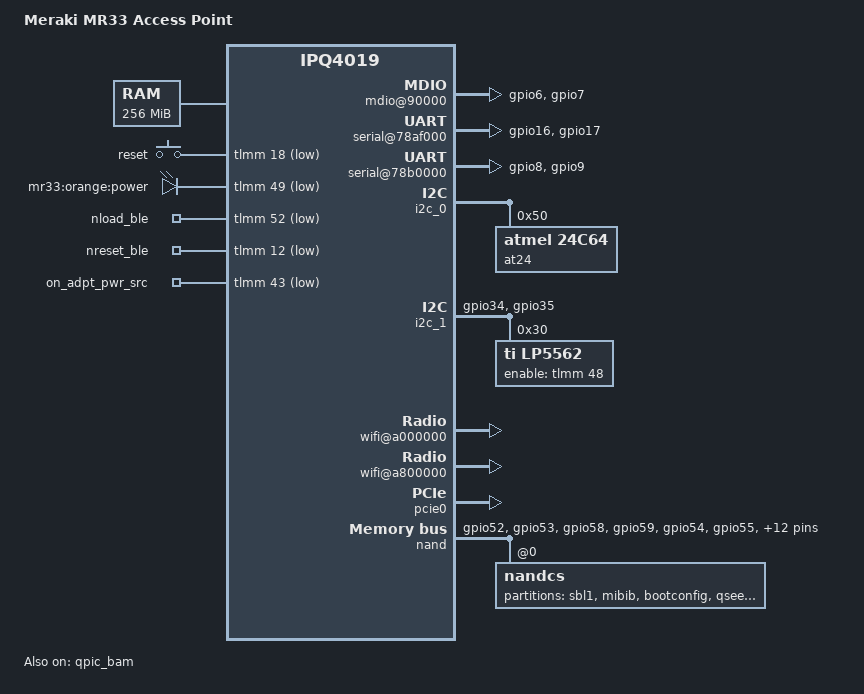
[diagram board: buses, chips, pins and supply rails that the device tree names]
/*
 * Device Tree Source for Meraki MR33 (Stinkbug)
 *
 * Copyright (C) 2017 Chris Blake <chrisrblake93@gmail.com>
 * Copyright (C) 2017 Christian Lamparter <chunkeey@googlemail.com>
 *
 * Based on Cisco Meraki DTS from GPL release r25-linux-3.14-20170427
 *
 * This file is licensed under the terms of the GNU General Public
 * License version 2.  This program is licensed "as is" without
 * any warranty of any kind, whether express or implied.
 */

#include "qcom-ipq4019.dtsi"
#include "qcom-ipq4019-bus.dtsi"
#include <dt-bindings/gpio/gpio.h>
#include <dt-bindings/input/input.h>
#include <dt-bindings/soc/qcom,tcsr.h>

/ {
	model = "Meraki MR33 Access Point";
	compatible = "meraki,mr33", "qcom,ipq4019";

	aliases {
		i2c1 = &i2c_1;
		led-boot = &status_green;
		led-failsafe = &status_red;
		led-running = &status_green;
		led-upgrade = &power_orange;
	};

	/* Do we really need this defined? */
	memory {
		device_type = "memory";
		reg = <0x80000000 0x10000000>;
	};

	reserved-memory {
		#address-cells = <0x1>;
		#size-cells = <0x1>;
		ranges;

		tz_apps@87b80000 {
			reg = <0x87b80000 0x280000>;
			reusable;
		};

		smem@87e00000 {
			reg = <0x87e00000 0x080000>;
			no-map;
		};

		tz@87e80000 {
			reg = <0x87e80000 0x180000>;
			no-map;
		};
	};

	soc {
		mdio@90000 {
			status = "okay";
			pinctrl-0 = <&mdio_pins>;
			pinctrl-names = "default";
			phy-reset-gpio = <&tlmm 47 0>;
		};

		counter@4a1000 {
			compatible = "qcom,qca-gcnt";
			reg = <0x4a1000 0x4>;
		};

		pinctrl@1000000 {
			mdio_pins: mdio_pinmux {
				mux_1 {
					pins = "gpio6";
					function = "mdio";
					bias-disable;
				};
				mux_2 {
					pins = "gpio7";
					function = "mdc";
					bias-disable;
				};
			};

			serial_0_pins: serial_pinmux {
				mux {
					pins = "gpio16", "gpio17";
					function = "blsp_uart0";
					bias-disable;
				};
			};

			serial_1_pins: serial1_pinmux {
				mux {
					/* We use the i2c-0 pins for serial_1 */
					pins = "gpio8", "gpio9";
					function = "blsp_uart1";
					bias-disable;
				};
			};

			i2c_0_pins: i2c_0_pinmux {
				pinmux {
					function = "blsp_i2c0";
					pins = "gpio20", "gpio21";
				};
				pinconf {
					pins = "gpio20", "gpio21";
					drive-strength = <16>;
					bias-disable;
				};
			};

			i2c_1_pins: i2c_1_pinmux {
				pinmux {
					function = "blsp_i2c1";
					pins = "gpio34", "gpio35";
				};
				pinconf {
					pins = "gpio34", "gpio35";
					drive-strength = <16>;
					bias-disable;
				};
			};

			nand_pins: nand_pins {
				pullups {
					pins = "gpio52", "gpio53", "gpio58",
						"gpio59";
					function = "qpic";
					bias-pull-up;
				};

				pulldowns {
					pins = "gpio54", "gpio55", "gpio56",
						"gpio57", "gpio60", "gpio61",
						"gpio62", "gpio63", "gpio64",
						"gpio65", "gpio66", "gpio67",
						"gpio68", "gpio69";
					function = "qpic";
					bias-pull-down;
				};
			};
		};

		ess_tcsr@1953000 {
			compatible = "qcom,tcsr";
			reg = <0x1953000 0x1000>;
			qcom,ess-interface-select = <TCSR_ESS_PSGMII_RGMII5>;
		};

		tcsr@1949000 {
			compatible = "qcom,tcsr";
			reg = <0x1949000 0x100>;
			qcom,wifi_glb_cfg = <TCSR_WIFI_GLB_CFG>;
		};

		tcsr@1957000 {
			compatible = "qcom,tcsr";
			reg = <0x1957000 0x100>;
			qcom,wifi_noc_memtype_m0_m2 = <TCSR_WIFI_NOC_MEMTYPE_M0_M2>;
		};

		blsp_dma: dma@7884000 {
			status = "okay";
		};

		serial@78af000 {
			pinctrl-0 = <&serial_0_pins>;
			pinctrl-names = "default";
			status = "okay";
		};

		serial@78b0000 {
			pinctrl-0 = <&serial_1_pins>;
			pinctrl-names = "default";
			status = "okay";
		};

		i2c_0: i2c@78b7000 {
			reg = <0x78b7000 0x600>;
			status = "okay";
			at24@50 {
				compatible = "atmel,24c64";
				pagesize = <32>;
				reg = <0x50>;
				read-only; /* This holds our MAC & Meraki board-data */
			};
		};

		/* Missing in IPQ4019 define */
		i2c_1: i2c@78b8000 {
			compatible = "qcom,i2c-qup-v2.2.1";
			reg = <0x78b8000 0x600>;
			interrupts = <GIC_SPI 98 IRQ_TYPE_LEVEL_HIGH>;
			clocks = <&gcc GCC_BLSP1_AHB_CLK>,
				 <&gcc GCC_BLSP1_QUP2_I2C_APPS_CLK>;
			clock-names = "iface", "core";
			#address-cells = <1>;
			#size-cells = <0>;
			dmas = <&blsp_dma 11>, <&blsp_dma 10>;
			dma-names = "rx", "tx";
			pinctrl-0 = <&i2c_1_pins>;
			pinctrl-names = "default";
			status = "okay";

			lp5562 {
				enable-gpio = <&tlmm 48 GPIO_ACTIVE_HIGH>;
				compatible = "ti,lp5562";
				clock-mode = /bits/8 <2>;
				reg = <0x30>;

				/* RGB led */
				status_red: chan0 {
					chan-name = "mr33:red:status";
					led-cur = /bits/ 8 <0x20>;
					max-cur = /bits/ 8 <0x60>;
				};

				status_green: chan1 {
					chan-name = "mr33:green:status";
					led-cur = /bits/ 8 <0x20>;
					max-cur = /bits/ 8 <0x60>;
				};

				chan2 {
					chan-name = "mr33:blue:status";
					led-cur = /bits/ 8 <0x20>;
					max-cur = /bits/ 8 <0x60>;
				};

				chan3 {
					chan-name = "mr33:white:status";
					led-cur = /bits/ 8 <0x20>;
					max-cur = /bits/ 8 <0x60>;
				};
			};
		};

		dma@8e04000 {
			status = "okay";
		};

		crypto@8e3a000 {
			status = "okay";
		};

		wifi@a000000 {
			status = "okay";
		};

		wifi@a800000 {
			status = "okay";
		};

		watchdog@b017000 {
			status = "okay";
		};

		ess-switch@c000000 {
			switch_mac_mode = <0x3>; /* mac mode for RGMII RMII */
			switch_lan_bmp = <0x0>; /* lan port bitmap */
			switch_wan_bmp = <0x10>; /* wan port bitmap */
		};

		edma@c080000 {
			qcom,single-phy;
			qcom,num_gmac = <1>;
			phy-mode = "rgmii-rxid";
			status = "okay";

			gmac0 {
				qcom,phy_mdio_addr = <1>;
				qcom,poll_required = <1>;
				vlan_tag = <0 0x20>;
			};
		};
	};

	gpio-keys {
		compatible = "gpio-keys";

		reset {
			label = "reset";
			gpios = <&tlmm 18 GPIO_ACTIVE_LOW>;
			linux,code = <KEY_RESTART>;
		};
	};

	gpio-leds {
		compatible = "gpio-leds";

		power_orange: power {
			label = "mr33:orange:power";
			gpios = <&tlmm 49 GPIO_ACTIVE_LOW>;
			panic-indicator;
		};
	};

	gpio_export {
		compatible = "gpio-export";

		nload_ble {
			gpio-export,name = "nload_ble";
			gpio-export,output = <1>;
			gpios = <&tlmm 52 GPIO_ACTIVE_LOW>;
		};

		nreset_ble {
			gpio-export,name = "nreset_ble";
			gpio-export,output = <1>;
			gpios = <&tlmm 12 GPIO_ACTIVE_LOW>;
		};

		on_adpt_pwr_src {
			gpio-export,name = "on_adpt_pwr_src";
			gpios = <&tlmm 43 GPIO_ACTIVE_LOW>;
		};
	};
};

&pcie0 {
	status = "okay";
	perst-gpio = <&tlmm 38 GPIO_ACTIVE_LOW>;
	wake-gpio = <&tlmm 50 GPIO_ACTIVE_LOW>;
};

&qpic_bam {
	status = "okay";
};

&nand {
	pinctrl-0 = <&nand_pins>;
	pinctrl-names = "default";
	status = "okay";

	nandcs@0 {
		partitions {
			compatible = "fixed-partitions";
			#address-cells = <1>;
			#size-cells = <1>;

			partition@0 {
				label = "sbl1";
				reg = <0x000000000000 0x000000100000>;
				read-only;
			};
			partition@1 {
				label = "mibib";
				reg = <0x000000100000 0x000000100000>;
				read-only;
			};
			partition@2 {
				label = "bootconfig";
				reg = <0x000000200000 0x000000100000>;
				read-only;
			};
			partition@3 {
				label = "qsee";
				reg = <0x000000300000 0x000000100000>;
				read-only;
			};
			partition@4 {
				label = "qsee_alt";
				reg = <0x000000400000 0x000000100000>;
				read-only;
			};
			partition@5 {
				label = "cdt";
				reg = <0x000000500000 0x000000080000>;
				read-only;
			};
			partition@6 {
				label = "cdt_alt";
				reg = <0x000000580000 0x000000080000>;
				read-only;
			};
			partition@7 {
				label = "ddrparams";
				reg = <0x000000600000 0x000000080000>;
				read-only;
			};
			partition@8 {
				label = "u-boot";
				reg = <0x000000700000 0x000000200000>;
				read-only;
			};
			partition@9 {
				label = "u-boot-backup";
				reg = <0x000000900000 0x000000200000>;
				read-only;
			};
			partition@10 {
				label = "ART";
				reg = <0x000000b00000 0x000000080000>;
				read-only;
			};
			partition@11 {
				label = "ubi";
				reg = <0x000000c00000 0x000007000000>;
			};
		};
	};
};
